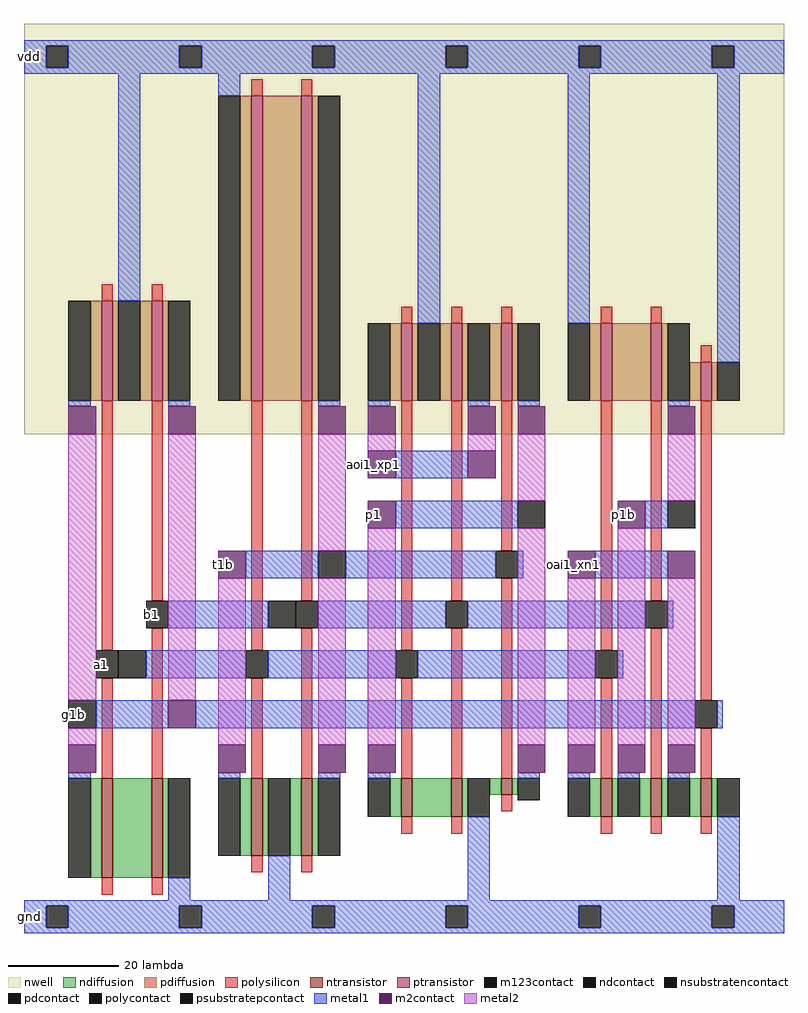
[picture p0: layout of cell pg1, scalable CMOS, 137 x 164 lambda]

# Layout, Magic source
magic
tech scmos
<< nwell >>
rect 0 90 137 164
<< ntransistor >>
rect 14 10 16 28
rect 23 10 25 28
rect 41 14 43 28
rect 50 14 52 28
rect 68 21 70 28
rect 77 21 79 28
rect 86 25 88 28
rect 104 21 106 28
rect 113 21 115 28
rect 122 21 124 28
<< ptransistor >>
rect 14 96 16 114
rect 23 96 25 114
rect 41 96 43 151
rect 50 96 52 151
rect 68 96 70 110
rect 77 96 79 110
rect 86 96 88 110
rect 104 96 106 110
rect 113 96 115 110
rect 122 96 124 103
<< ndiffusion >>
rect 12 10 14 28
rect 16 10 23 28
rect 25 10 26 28
rect 39 14 41 28
rect 43 14 44 28
rect 48 14 50 28
rect 52 14 53 28
rect 66 21 68 28
rect 70 21 77 28
rect 79 21 80 28
rect 84 25 86 28
rect 88 25 89 28
rect 102 21 104 28
rect 106 21 107 28
rect 111 21 113 28
rect 115 21 116 28
rect 120 21 122 28
rect 124 21 125 28
<< pdiffusion >>
rect 12 96 14 114
rect 16 96 17 114
rect 21 96 23 114
rect 25 96 26 114
rect 39 96 41 151
rect 43 96 50 151
rect 52 96 53 151
rect 66 96 68 110
rect 70 96 71 110
rect 75 96 77 110
rect 79 96 80 110
rect 84 96 86 110
rect 88 96 89 110
rect 102 96 104 110
rect 106 96 113 110
rect 115 96 116 110
rect 120 96 122 103
rect 124 96 125 103
<< ndcontact >>
rect 8 10 12 28
rect 26 10 30 28
rect 35 14 39 28
rect 44 14 48 28
rect 53 14 57 28
rect 62 21 66 28
rect 80 21 84 28
rect 89 24 93 28
rect 98 21 102 28
rect 107 21 111 28
rect 116 21 120 28
rect 125 21 129 28
<< pdcontact >>
rect 8 96 12 114
rect 17 96 21 114
rect 26 96 30 114
rect 35 96 39 151
rect 53 96 57 151
rect 62 96 66 110
rect 71 96 75 110
rect 80 96 84 110
rect 89 96 93 110
rect 98 96 102 110
rect 116 96 120 110
rect 125 96 129 103
<< psubstratepcontact >>
rect 4 1 8 5
rect 28 1 32 5
rect 52 1 56 5
rect 76 1 80 5
rect 100 1 104 5
rect 124 1 128 5
<< nsubstratencontact >>
rect 4 156 8 160
rect 28 156 32 160
rect 52 156 56 160
rect 76 156 80 160
rect 100 156 104 160
rect 124 156 128 160
<< polysilicon >>
rect 41 151 43 154
rect 50 151 52 154
rect 14 114 16 117
rect 23 114 25 117
rect 68 110 70 113
rect 77 110 79 113
rect 86 110 88 113
rect 104 110 106 113
rect 113 110 115 113
rect 122 103 124 106
rect 14 51 16 96
rect 23 60 25 96
rect 14 28 16 46
rect 23 28 25 55
rect 41 51 43 96
rect 50 60 52 96
rect 41 28 43 46
rect 50 28 52 55
rect 68 51 70 96
rect 77 60 79 96
rect 86 69 88 96
rect 68 28 70 46
rect 77 28 79 55
rect 86 28 88 64
rect 104 51 106 96
rect 113 60 115 96
rect 104 28 106 46
rect 113 28 115 55
rect 122 42 124 96
rect 122 28 124 37
rect 86 22 88 25
rect 68 18 70 21
rect 77 18 79 21
rect 104 18 106 21
rect 113 18 115 21
rect 122 18 124 21
rect 41 11 43 14
rect 50 11 52 14
rect 14 7 16 10
rect 23 7 25 10
<< polycontact >>
rect 22 55 26 60
rect 13 46 17 51
rect 49 55 53 60
rect 40 46 44 51
rect 85 64 89 69
rect 76 55 80 60
rect 67 46 71 51
rect 112 55 116 60
rect 103 46 107 51
rect 121 37 125 42
<< metal1 >>
rect 0 160 137 161
rect 0 156 4 160
rect 8 156 28 160
rect 32 156 52 160
rect 56 156 76 160
rect 80 156 100 160
rect 104 156 124 160
rect 128 156 137 160
rect 0 155 137 156
rect 17 114 21 155
rect 35 151 39 155
rect 71 110 75 155
rect 98 110 102 155
rect 8 95 12 96
rect 26 95 30 96
rect 53 95 57 96
rect 62 95 66 96
rect 80 95 84 96
rect 125 103 129 155
rect 89 95 93 96
rect 116 95 120 96
rect 67 82 80 87
rect 67 73 89 78
rect 112 73 116 78
rect 40 64 53 69
rect 58 64 85 69
rect 89 64 90 69
rect 103 64 116 69
rect 26 55 44 60
rect 53 55 76 60
rect 80 55 112 60
rect 116 55 117 60
rect 22 46 40 51
rect 44 46 67 51
rect 71 46 103 51
rect 107 46 108 51
rect 13 37 26 42
rect 31 37 121 42
rect 125 37 126 42
rect 8 28 12 29
rect 35 28 39 29
rect 53 28 57 29
rect 62 28 66 29
rect 89 28 93 29
rect 98 28 102 29
rect 107 28 111 29
rect 116 28 120 29
rect 26 6 30 10
rect 44 6 48 14
rect 80 6 84 21
rect 125 6 129 21
rect 0 5 137 6
rect 0 1 4 5
rect 8 1 28 5
rect 32 1 52 5
rect 56 1 76 5
rect 80 1 100 5
rect 104 1 124 5
rect 128 1 137 5
rect 0 0 137 1
<< m2contact >>
rect 8 90 13 95
rect 26 90 31 95
rect 53 90 58 95
rect 62 90 67 95
rect 80 90 85 95
rect 89 90 94 95
rect 116 90 121 95
rect 62 82 67 87
rect 80 82 85 87
rect 62 73 67 78
rect 107 73 112 78
rect 35 64 40 69
rect 98 64 103 69
rect 116 64 121 69
rect 26 37 31 42
rect 8 29 13 34
rect 35 29 40 34
rect 53 29 58 34
rect 62 29 67 34
rect 89 29 94 34
rect 98 29 103 34
rect 107 29 112 34
rect 116 29 121 34
<< metal2 >>
rect 8 42 13 90
rect 26 42 31 90
rect 53 69 58 90
rect 62 87 67 90
rect 80 87 85 90
rect 89 78 94 90
rect 116 78 121 90
rect 8 34 13 37
rect 35 34 40 64
rect 53 34 58 64
rect 62 34 67 73
rect 89 34 94 73
rect 98 34 103 64
rect 107 34 112 73
rect 116 34 121 64
<< m123contact >>
rect 17 46 22 51
rect 8 37 13 42
rect 53 64 58 69
rect 44 55 49 60
rect 89 73 94 78
rect 116 73 121 78
<< labels >>
rlabel metal1 13 46 15 51 0 a1
port 1 nsew
rlabel metal1 22 55 24 60 0 b1
port 2 nsew
rlabel metal1 8 37 10 42 0 g1b
port 3 nsew
rlabel m2contact 62 73 64 78 0 p1
port 4 nsew
rlabel m2contact 107 73 109 78 0 p1b
port 5 nsew
rlabel m2contact 35 64 37 69 0 t1b
port 6 nsew
rlabel m2contact 62 82 64 87 0 aoi1_xp1
rlabel m2contact 98 64 100 69 0 oai1_xn1
rlabel metal1 0 155 2 161 0 vdd
port 7 nsew
rlabel metal1 0 0 2 6 0 gnd
port 8 nsew
<< end >>
